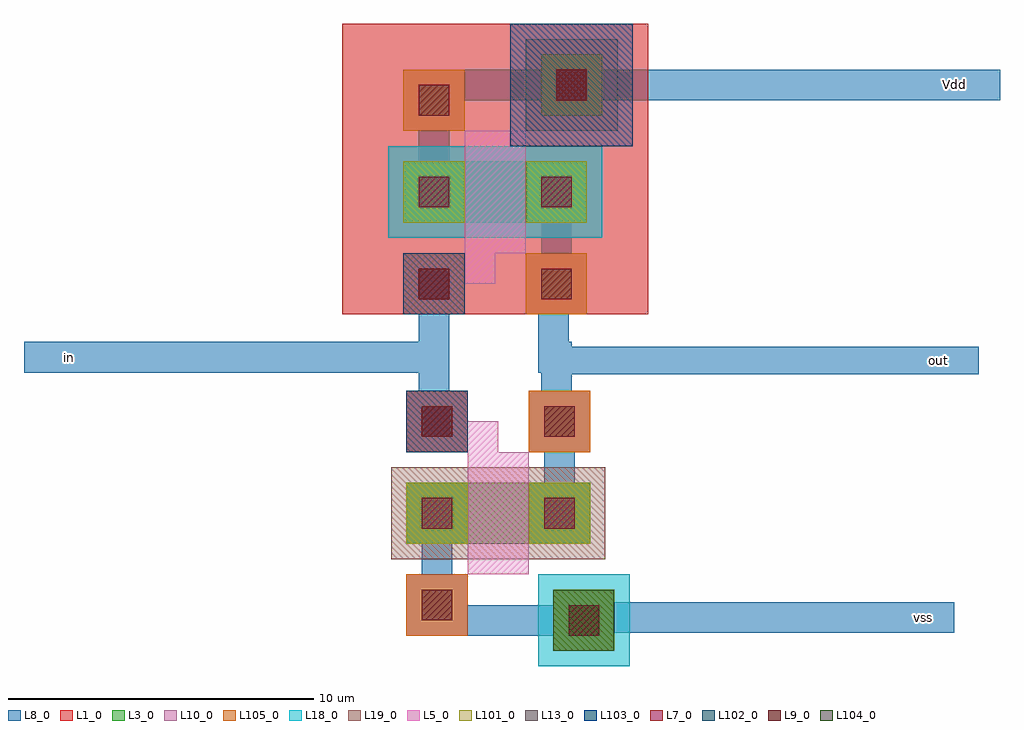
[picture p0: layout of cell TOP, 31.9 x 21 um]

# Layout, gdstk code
import gdstk
lib = gdstk.Library(unit=1e-6, precision=1e-07)
def R(c, l, rs):  # rectangles x0, y0, x1, y1
    for r in rs: c.add(gdstk.rectangle(r[:2], r[2:], *l))
L1_0 = (1, 0)
L3_0 = (3, 0)
L5_0 = (5, 0)
L7_0 = (7, 0)
L8_0 = (8, 0)
L9_0 = (9, 0)
L10_0 = (10, 0)
L13_0 = (13, 0)
L18_0 = (18, 0)
L19_0 = (19, 0)
L101_0 = (101, 0)
L102_0 = (102, 0)
L103_0 = (103, 0)
L104_0 = (104, 0)
L105_0 = (105, 0)

dcont = lib.new_cell('dcont')
R(dcont, L3_0, [(-1,-1,1,1)])
R(dcont, L7_0, [(-0.5,-0.5,0.5,0.5)])
R(dcont, L8_0, [(-1,-1,1,1)])
R(dcont, L13_0, [(-0.5,-0.5,0.5,0.5)])
R(dcont, L101_0, [(-1,-1,1,1)])

pcont = lib.new_cell('pcont')
R(pcont, L5_0, [(-1,-1,1,1)])
R(pcont, L7_0, [(-0.5,-0.5,0.5,0.5)])
R(pcont, L8_0, [(-1,-1,1,1)])
R(pcont, L13_0, [(-0.5,-0.5,0.5,0.5)])
R(pcont, L102_0, [(-1,-1,1,1)])

via = lib.new_cell('Via')
R(via, L8_0, [(-1,-1,1,1)])
R(via, L9_0, [(-0.5,-0.5,0.5,0.5)])
R(via, L10_0, [(-1,-1,1,1)])
R(via, L13_0, [(-0.5,-0.5,0.5,0.5)])
R(via, L105_0, [(-1,-1,1,1)])

dcont1 = lib.new_cell('dcont1')
R(dcont1, L3_0, [(-1,-1,1,1)])
R(dcont1, L7_0, [(-0.5,-0.5,0.5,0.5)])
R(dcont1, L8_0, [(-1,-1,1,1)])
R(dcont1, L13_0, [(-0.5,-0.5,0.5,0.5)])
R(dcont1, L101_0, [(-1,-1,1,1)])

nsubcont = lib.new_cell('nsubcont')
R(nsubcont, L1_0, [(-2,-2,2,2)])
R(nsubcont, L19_0, [(-1.5,-1.5,1.5,1.5)])
R(nsubcont, L103_0, [(-2,-2,2,2)])
nsubcont.add(gdstk.Reference(dcont1, (0,0)))

pch = lib.new_cell('Pch')
R(pch, L1_0, [(-2,0,8,9.5)])
R(pch, L3_0, [(0,3,6,5)])
R(pch, L18_0, [(-0.5,2.5,6.5,5.5)])
pch.add(gdstk.FlexPath([(3,3),(3,5)], 2, ends="extended", simple_path=True, layer=5, datatype=0))  # L5_0
pch.add(gdstk.FlexPath([(1,1.5),(2.5,1.5),(2.5,2)], 1, ends="flush", simple_path=True, layer=5, datatype=0))  # L5_0
pch.add(gdstk.FlexPath([(1,3),(1,5)], 2, ends="flush", simple_path=True, layer=8, datatype=0))  # L8_0
pch.add(gdstk.FlexPath([(5,3),(5,5)], 2, ends="flush", simple_path=True, layer=8, datatype=0))  # L8_0
pch.add(gdstk.FlexPath([(1,4),(1,7)], 1, ends="flush", simple_path=True, layer=8, datatype=0))  # L8_0
pch.add(gdstk.FlexPath([(5,1),(5,4)], 1, ends="flush", simple_path=True, layer=8, datatype=0))  # L8_0
pch.add(gdstk.Reference(dcont, (1,4)))
pch.add(gdstk.Reference(dcont, (5,4)))
pch.add(gdstk.Reference(pcont, (1,1)))
pch.add(gdstk.Reference(via, (1,1)))
pch.add(gdstk.Reference(via, (1,7)))
pch.add(gdstk.Reference(via, (5,1)))
pch.add(gdstk.Reference(nsubcont, (5.5,7.5)))
pch.add(gdstk.Reference(via, (5.5,7.5)))

psubcont = lib.new_cell('psubcont')
R(psubcont, L18_0, [(-1.5,-1.5,1.5,1.5)])
R(psubcont, L104_0, [(-1,-1,1,1)])
psubcont.add(gdstk.Reference(dcont1, (0,0)))

nch_1 = lib.new_cell('Nch$1')
R(nch_1, L3_0, [(0,3,6,5)])
R(nch_1, L19_0, [(-0.5,2.5,6.5,5.5)])
nch_1.add(gdstk.FlexPath([(3,3),(3,5)], 2, ends="extended", simple_path=True, layer=5, datatype=0))  # L5_0
nch_1.add(gdstk.FlexPath([(1,6.5),(2.5,6.5),(2.5,6)], 1, ends="flush", simple_path=True, layer=5, datatype=0))  # L5_0
nch_1.add(gdstk.FlexPath([(1,3),(1,5)], 2, ends="flush", simple_path=True, layer=8, datatype=0))  # L8_0
nch_1.add(gdstk.FlexPath([(5,3),(5,5)], 2, ends="flush", simple_path=True, layer=8, datatype=0))  # L8_0
nch_1.add(gdstk.FlexPath([(1,1),(1,4)], 1, ends="flush", simple_path=True, layer=8, datatype=0))  # L8_0
nch_1.add(gdstk.FlexPath([(5,4),(5,7)], 1, ends="flush", simple_path=True, layer=8, datatype=0))  # L8_0
nch_1.add(gdstk.Reference(dcont, (1,4)))
nch_1.add(gdstk.Reference(dcont, (5,4)))
nch_1.add(gdstk.Reference(pcont, (1,7)))
nch_1.add(gdstk.Reference(via, (1,7)))
nch_1.add(gdstk.Reference(via, (1,1)))
nch_1.add(gdstk.Reference(via, (5,7)))
nch_1.add(gdstk.Reference(psubcont, (5.8,0.5)))
nch_1.add(gdstk.Reference(via, (5.8,0.5)))

top = lib.new_cell('TOP')
top.add(gdstk.FlexPath([(-30,-2.5),(-16,-2.5)], 1, ends="flush", simple_path=True, layer=8, datatype=0))  # L8_0
top.add(gdstk.FlexPath([(-30,-2.5),(-34.5,-2.5)], 1, ends="flush", simple_path=True, layer=8, datatype=0))  # L8_0
top.add(gdstk.FlexPath([(-30.6,-9),(-30.6,-11.4),(-30.5,-11.4),(-30.5,-14.1)], 1, ends="flush", simple_path=True, layer=8, datatype=0))  # L8_0
top.add(gdstk.FlexPath([(-34.5,-9.1),(-34.5,-14)], 1, ends="flush", simple_path=True, layer=8, datatype=0))  # L8_0
top.add(gdstk.FlexPath([(-34.4,-19.6),(-34.4,-20),(-29.1,-20),(-29.1,-20),(-29.1,-20)], 1, ends="flush", simple_path=True, layer=8, datatype=0))  # L8_0
top.add(gdstk.FlexPath([(-30.5,-11.5),(-16.7,-11.5)], 0.9, ends="flush", simple_path=True, layer=8, datatype=0))  # L8_0
top.add(gdstk.FlexPath([(-29.6,-19.9),(-17.5,-19.9)], 1, ends="flush", simple_path=True, layer=8, datatype=0))  # L8_0
top.add(gdstk.FlexPath([(-34.5,-11.4),(-47.9,-11.4)], 1, ends="flush", simple_path=True, layer=8, datatype=0))  # L8_0
top.add(gdstk.Reference(pch, (-35.5,-10)))
top.add(gdstk.Reference(nch_1, (-35.4,-20.5)))
top.add(gdstk.Label('in', (-46.4,-11.4), layer=8, texttype=0))
top.add(gdstk.Label('Vdd', (-17.5,-2.5), layer=8, texttype=0))
top.add(gdstk.Label('out', (-18,-11.5), layer=8, texttype=0))
top.add(gdstk.Label('vss', (-18.5,-19.9), layer=8, texttype=0))

lib.write_gds('TOP.gds')
